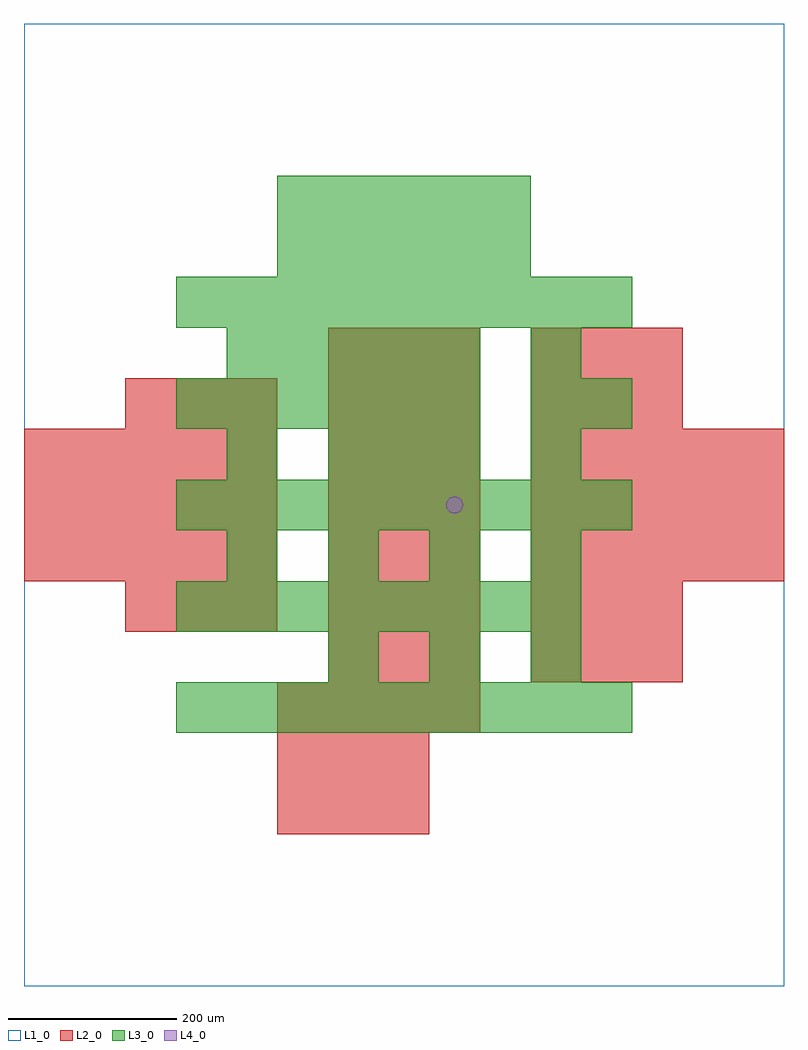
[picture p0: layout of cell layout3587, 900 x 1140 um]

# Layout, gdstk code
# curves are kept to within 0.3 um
import gdstk
lib = gdstk.Library(unit=1e-6, precision=1e-09)
def R(c, l, rs):  # rectangles x0, y0, x1, y1
    for r in rs: c.add(gdstk.rectangle(r[:2], r[2:], *l))
def A(c, l, x, y, w, h, nx, ny, dx, dy):  # array of equal rectangles
    R(c, l, [(x+i*dx, y+j*dy, x+i*dx+w, y+j*dy+h) for i in range(nx) for j in range(ny)])
def P(c, l, *ps):  # polygons
    for p in ps: c.add(gdstk.Polygon(p, *l))
L1_0 = (1, 0)
L2_0 = (2, 0)
L3_0 = (3, 0)
L4_0 = (4, 0)

layout3587 = lib.new_cell('layout3587')
R(layout3587, L1_0, [(0,0,900,1140)])
A(layout3587, L2_0, 300, 180, 60, 60, 3, 2, 60, 60)
A(layout3587, L2_0, 300, 300, 60, 60, 4, 1, 60, 0)
A(layout3587, L2_0, 360, 360, 60, 60, 3, 7, 60, 60)
A(layout3587, L2_0, 600, 360, 60, 60, 3, 2, 60, 60)
A(layout3587, L2_0, 120, 420, 60, 60, 3, 2, 60, 240)
A(layout3587, L2_0, 0, 480, 60, 60, 5, 3, 60, 60)
A(layout3587, L2_0, 600, 480, 60, 60, 5, 3, 60, 60)
A(layout3587, L2_0, 600, 660, 60, 60, 3, 2, 60, 60)
A(layout3587, L3_0, 180, 300, 60, 60, 9, 3, 60, 240)
A(layout3587, L3_0, 360, 360, 60, 60, 3, 1, 120, 0)
A(layout3587, L3_0, 180, 420, 60, 60, 8, 1, 60, 0)
A(layout3587, L3_0, 240, 480, 60, 60, 4, 1, 120, 0)
A(layout3587, L3_0, 360, 600, 60, 60, 3, 1, 60, 0)
A(layout3587, L3_0, 600, 600, 60, 60, 1, 3, 0, 60)
A(layout3587, L3_0, 180, 660, 60, 60, 6, 1, 60, 0)
A(layout3587, L3_0, 240, 720, 60, 60, 5, 1, 60, 0)
A(layout3587, L3_0, 300, 840, 60, 60, 5, 2, 60, 60)
R(layout3587, L3_0, [(240,600,300,660), (660,660,720,720)])
P(layout3587, L4_0, [(520,570),(519.239,573.827),(517.071,577.071),(513.827,579.239),(510,580),(506.173,579.239),(502.929,577.071),(500.761,573.827),(500,570),(500.761,566.173),(502.929,562.929),(506.173,560.761),(510,560),(513.827,560.761),(517.071,562.929),(519.239,566.173)])

lib.write_gds('layout3587.gds')
